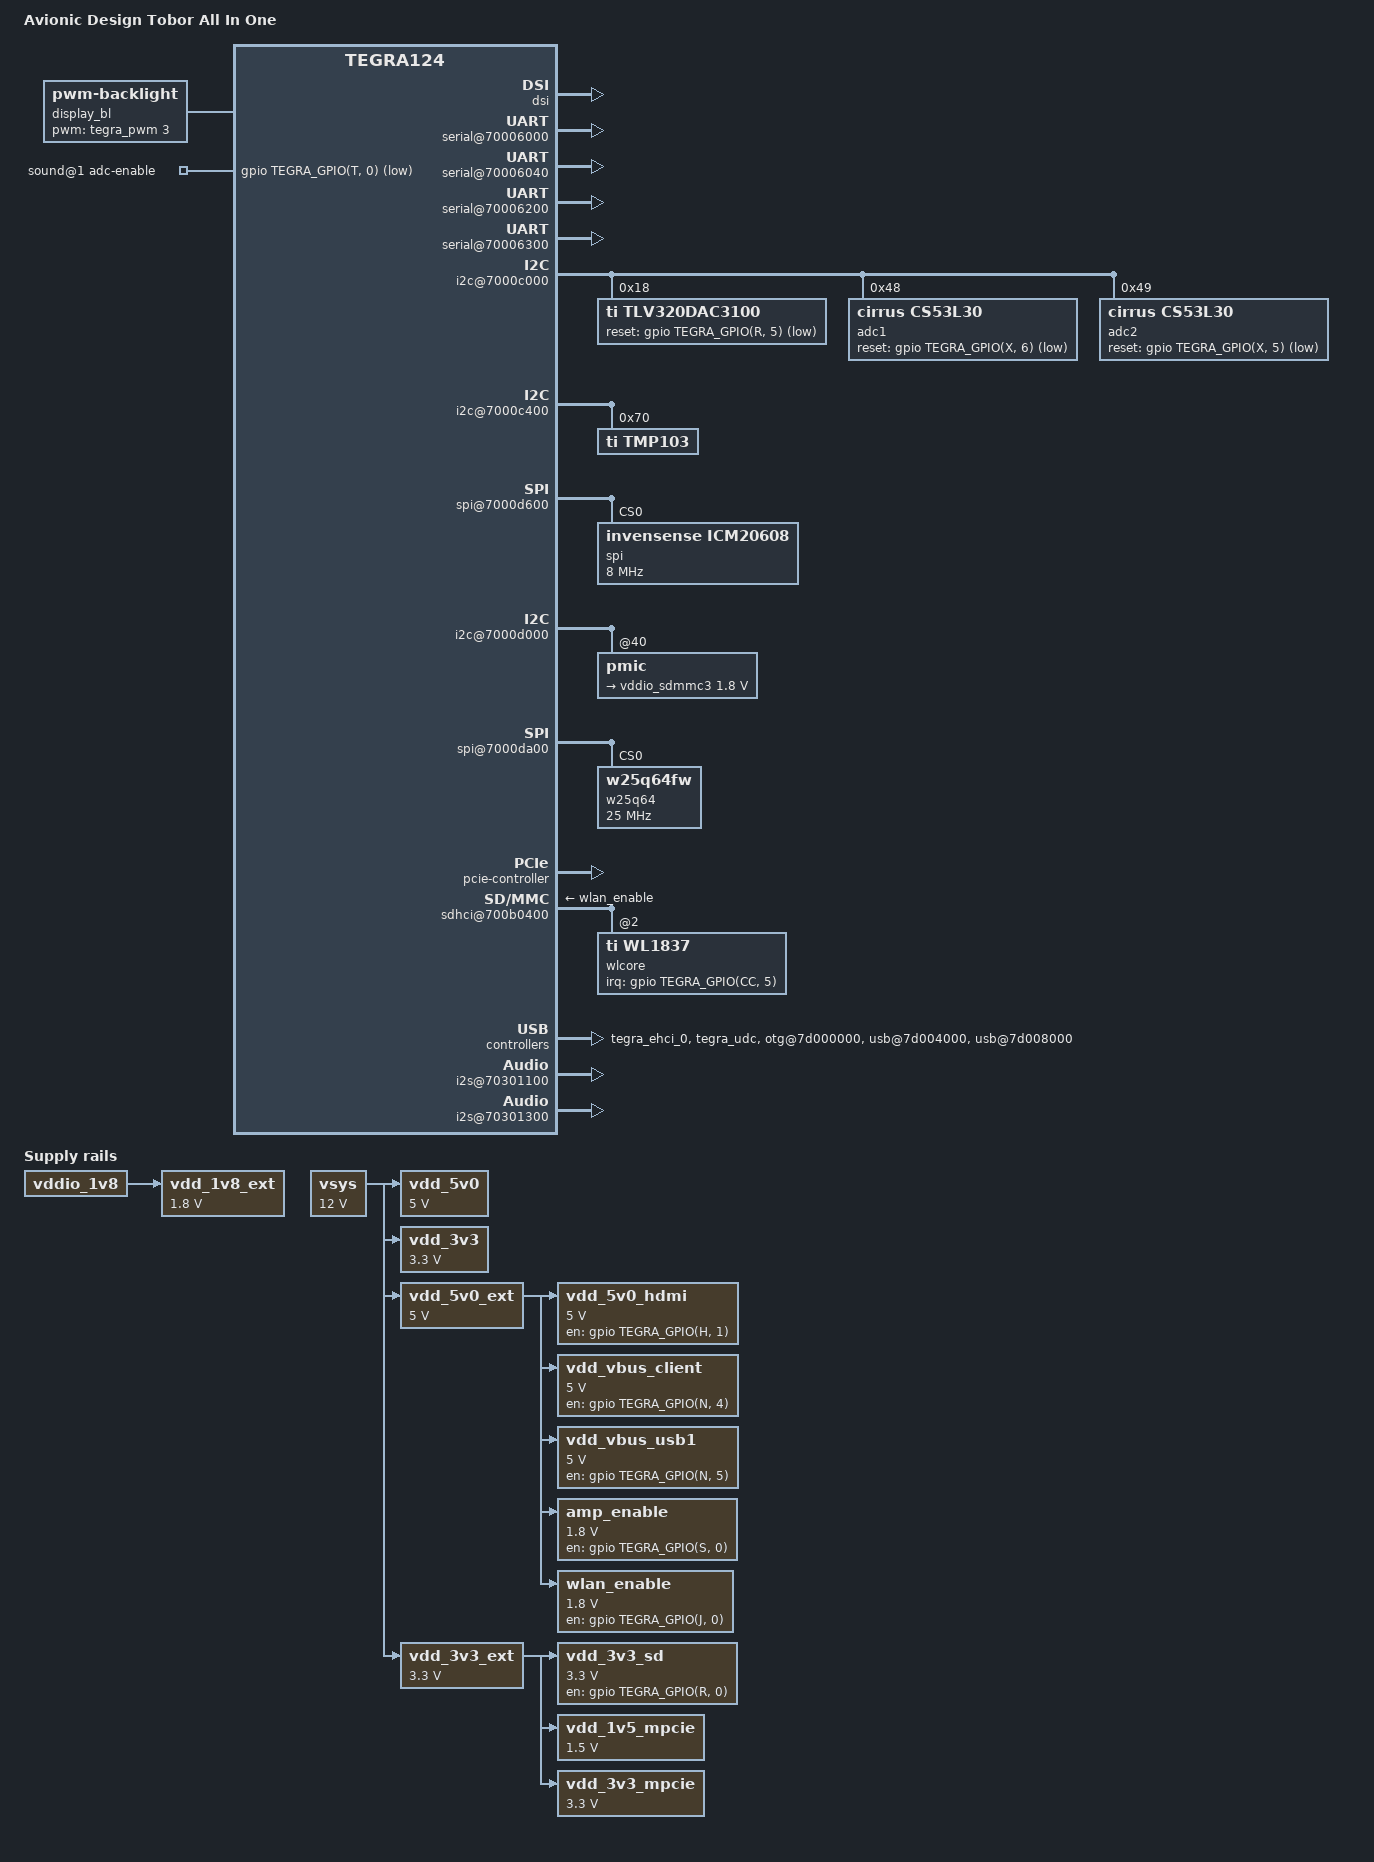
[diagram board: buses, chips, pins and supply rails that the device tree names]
/dts-v1/;

#include <dt-bindings/display/tegra-dc.h>
#include <dt-bindings/usb/tegra-ehci.h>
#include <dt-bindings/usb/tegra-xhci.h>
#include <dt-bindings/pci/tegra-pcie.h>

#include "tegra124-meerkat.dtsi"
#include "panel-n-720-1280-5.dtsi"

/ {
	model = "Avionic Design Tobor All In One";
	compatible = "ad,tobor-aio", "ad,meerkat", "nvidia,tegra124";
	nvidia,dtsfilename = __FILE__;

	pinmux {
		common {
			uart3_rxd_pw7 {
				nvidia,tristate = <TEGRA_PIN_DISABLE>;
			};

			uart3_txd_pw6 {
				nvidia,tristate = <TEGRA_PIN_DISABLE>;
			};

			/* SPI2 */
			kb_row13_ps5 {
				nvidia,function = "spi2";
				nvidia,enable-input = <TEGRA_PIN_DISABLE>;
			};

			kb_row14_ps6 {
				nvidia,function = "spi2";
				nvidia,tristate = <TEGRA_PIN_DISABLE>;
			};

			kb_col0_pq0 {
				nvidia,function = "spi2";
				nvidia,enable-input = <TEGRA_PIN_DISABLE>;
				nvidia,pull = <TEGRA_PIN_PULL_NONE>;
			};

			kb_col1_pq1 {
				nvidia,function = "spi2";
				nvidia,tristate = <TEGRA_PIN_DISABLE>;
			};

			/* LCD_BL_PWM */
			ph3 {
				nvidia,function = "pwm3";
				nvidia,tristate = <TEGRA_PIN_DISABLE>;
			};

			/* i2s1 (DAP2) / ADC */
			dap2_din_pa4 {
				nvidia,tristate = <TEGRA_PIN_DISABLE>;
			};

			dap2_fs_pa2 {
				nvidia,tristate = <TEGRA_PIN_DISABLE>;
			};

			dap2_sclk_pa3 {
				nvidia,tristate = <TEGRA_PIN_DISABLE>;
			};

			/* i2s3 (DAP4) / DAC */
			dap4_dout_pp6 {
				nvidia,tristate = <TEGRA_PIN_DISABLE>;
			};
			dap4_fs_pp4 {
				nvidia,tristate = <TEGRA_PIN_DISABLE>;
			};
			dap4_sclk_pp7 {
				nvidia,tristate = <TEGRA_PIN_DISABLE>;
			};

			/* TI Wifi IRQ line */
			clk2_req_pcc5 {
				nvidia,enable-input = <TEGRA_PIN_ENABLE>;
				nvidia,pull = <TEGRA_PIN_PULL_NONE>;
				nvidia,tristate = <TEGRA_PIN_DISABLE>;
			};
		};
	};

	display_bl: backlight {
		compatible = "pwm-backlight";
		pwms = <&tegra_pwm 3 1000000>;
		brightness-levels = <0 4 8 16 32 64 128 255>;
		default-brightness-level = <7>;
	};

	host1x {
		/* DSI Panel */
		/* tegradc.0 */
		dc@54200000 {
			status = "okay";
			nvidia,dc-connection = "internal-lcd";
			nvidia,cmu-enable = <1>;
			panel = <&panel>;
		};

		dsi {
			nvidia,dsi-controller-vs = <DSI_VS_1>;
			status = "okay";
			panel: panel-n-720-1280-5 {
				status = "okay";
				enable-gpios = <&gpio TEGRA_GPIO(R, 2) GPIO_ACTIVE_HIGH>;
				reset-gpios = <&gpio TEGRA_GPIO(W, 2) GPIO_ACTIVE_LOW>;
				reset-hold = <20>;
				reset-settle = <40>;
				backlight = <&display_bl>;
			};
		};
	};

	/* Use HS UART for the first 3 ports */
	serial@70006000 {
		compatible = "nvidia,tegra114-hsuart", "nvidia,tegra30-hsuart";
		status = "okay";
	};

	serial@70006040 {
		compatible = "nvidia,tegra114-hsuart", "nvidia,tegra30-hsuart";
		status = "okay";
	};

	serial@70006200 {
		compatible = "nvidia,tegra114-hsuart", "nvidia,tegra30-hsuart";
		status = "okay";
	};

	serial@70006300 {
		status = "okay";
	};

	/* GEN 1 */
	i2c@7000c000 {
		status = "okay";

		tlv320dac3100: tlv320dac3100@18 {
			compatible = "ti,tlv320dac3100";
			reg = <0x18>;

			reset-gpio = <&gpio TEGRA_GPIO(R, 5) GPIO_ACTIVE_LOW>;
		};

		adc1: adc@48 {
			compatible = "cirrus,cs53l30";
			reg = <0x48>;

			#sound-dai-cells = <0>;
			reset-gpio = <&gpio TEGRA_GPIO(X, 6) GPIO_ACTIVE_LOW>;
		};

		adc2: adc@49 {
			compatible = "cirrus,cs53l30";
			reg = <0x49>;

			#sound-dai-cells = <0>;
			reset-gpio = <&gpio TEGRA_GPIO(X, 5) GPIO_ACTIVE_LOW>;
		};
	};

	/* GEN 2 */
	i2c@7000c400 {
		status = "okay";

		tmp103@70 {
			compatible = "ti,tmp103";
			reg = <0x70>;
		};
	};

	/* SPI2 */
	spi@7000d600 {
		status = "okay";
		spi-max-frequency = <8000000>;

		spi@0 {
			compatible = "invensense,icm20608";
			reg = <0>;

			spi-max-frequency = <8000000>;
		};
	};

	/* Limit MMC3 to 1.8V for TI SDIO */
	i2c@7000d000 {
		pmic: pmic@40 {
			regulators {
				vddio_sdmmc3: ldo6 {
					regulator-max-microvolt = <1800000>;
				};
			};

			/* Generate 32kHz clock for TI wifi module */
			as3722_default: pinmux@0 {
				gpio5 {
					pins = "gpio5";
					function = "clk32k-out";
				};
			};
		};
	};

	/* SPI4 */
	spi@7000da00 {
		status = "okay";
		spi-max-frequency = <25000000>;

		w25q64@0 {
			compatible = "w25q64fw";
			reg = <0>;
			spi-max-frequency = <25000000>;
		};
	};

	pcie-controller {
		nvidia,port0_status = <1>;
		nvidia,port1_status = <0>;
		nvidia,lanes = <TEGRA_PCIE_LANES_X2_X1>;
		status = "okay";
	};

	/* MMC card slot */
	sdhci@700b0400 {
		status = "okay";
		/delete-property/ cd-gpios;
		/delete-property/ wp-gpios;

		cap-power-off-card;
		keep-power-in-suspend;
		mmc-ocr-mask = <0>;
		vddio_sd_slot-supply = <&vdd_3v3_sd>;
		vmmc-supply = <&wlan_enable>;

		wlcore: wlcore@2 {
			status = "okay";
			compatible = "ti,wl1837";
			#address-cells = <1>;
			#size-cells = <0>;
			reg = <2>;
			interrupt-parent = <&gpio>;
			interrupts = <TEGRA_GPIO(CC, 5) IRQ_TYPE_LEVEL_HIGH>;
		};
	};

	/* Recovery USB */
	tegra_ehci_0: usb@7d000000 {
		status = "okay";
		nvidia,port-otg;
		nvidia,phy-interface = <TEGRA_USB_PHY_INTF_UTMI>;
		nvidia,mode = <TEGRA_USB_OPMODE_HOST>;
		nvidia,id-det-type = <TEGRA_USB_PMU_ID>;
		nvidia,id-extcon-dev-name = "as3722-extcon";

		nvidia,hotplug;
		nvidia,remote-wakeup-supported;
		nvidia,power-off-on-suspend;

		nvidia,hssync-start-delay = <0>;
		nvidia,elastic-limit = <16>;
		nvidia,idle-wait-delay = <17>;
		nvidia,term-range-adj = <6>;
		nvidia,xcvr-setup = <8>;
		nvidia,xcvr-lsfslew = <2>;
		nvidia,xcvr-lsrslew = <2>;
		nvidia,xcvr-setup-offset = <0>;
		nvidia,xcvr-use-fuses = <1>;
		nvidia,vbus-oc-map = <0x5>;

		usb_vbus-supply = <&vdd_vbus_client>;
	};

	tegra_udc: udc@7d000000 {
		status = "okay";
		nvidia,port-otg;
		nvidia,has-host;
		nvidia,phy-interface = <TEGRA_USB_PHY_INTF_UTMI>;
		nvidia,mode = <TEGRA_USB_OPMODE_DEVICE>;
		nvidia,id-det-type = <TEGRA_USB_PMU_ID>;
		nvidia,id-extcon-dev-name = "as3722-extcon";

		nvidia,hssync-start-delay = <0>;
		nvidia,elastic-limit = <16>;
		nvidia,idle-wait-delay = <17>;
		nvidia,term-range-adj = <6>;
		nvidia,xcvr-setup = <8>;
		nvidia,xcvr-lsfslew = <2>;
		nvidia,xcvr-lsrslew = <2>;
		nvidia,xcvr-setup-offset = <0>;
		nvidia,xcvr-use-fuses = <1>;

		usb_vbus-supply = <&vdd_vbus_client>;
	};

	otg@7d000000 {
		status = "okay";
		nvidia,ehci-device = <&tegra_ehci_0>;

		usb_vbus-supply = <&vdd_vbus_client>;
	};

	/* USB1 */
	usb@7d004000 {
		status = "okay";
		nvidia,phy-interface = <TEGRA_USB_PHY_INTF_UTMI>;
		nvidia,mode = <TEGRA_USB_OPMODE_HOST>;

		nvidia,remote-wakeup-supported;
		nvidia,power-off-on-suspend;

		nvidia,hssync-start-delay = <0>;
		nvidia,elastic-limit = <16>;
		nvidia,idle-wait-delay = <17>;
		nvidia,term-range-adj = <6>;
		nvidia,xcvr-setup = <8>;
		nvidia,xcvr-lsfslew = <2>;
		nvidia,xcvr-lsrslew = <2>;
		nvidia,xcvr-setup-offset = <0>;
		nvidia,xcvr-use-fuses = <1>;
		nvidia,vbus-oc-map = <0x5>;

		usb_vbus-supply = <&vdd_vbus_usb1>;
	};

	/* USB2 */
	usb@7d008000 {
		status = "okay";
		nvidia,phy-interface = <TEGRA_USB_PHY_INTF_UTMI>;
		nvidia,mode = <TEGRA_USB_OPMODE_HOST>;

		nvidia,remote-wakeup-supported;
		nvidia,power-off-on-suspend;

		nvidia,hssync-start-delay = <0>;
		nvidia,elastic-limit = <16>;
		nvidia,idle-wait-delay = <17>;
		nvidia,term-range-adj = <6>;
		nvidia,xcvr-setup = <8>;
		nvidia,xcvr-lsfslew = <2>;
		nvidia,xcvr-lsrslew = <2>;
		nvidia,xcvr-setup-offset = <0>;
		nvidia,xcvr-use-fuses = <1>;
		nvidia,vbus-oc-map = <0x5>;
	};

	avp-audio {
		compatible = "nvidia,tegra124-avp-audio", "nvidia,tegra30-avp-audio";
	};

	audio-offload {
		compatible = "nvidia,tegra-offload";
	};

	ahub {
		status = "okay";

		i2s@70301100 {
			status = "okay";
		};

		i2s@70301300 {
			status = "okay";
		};
	};

	sound@0 {
		compatible = "nvidia,tegra-audio-tlv320dac3100";
		reg = <0x0 0x0 0x0 0x0>;
		nvidia,model = "Tobor TLV320DAC3100";

		nvidia,audio-routing =
			"Headphone", "Amp",
			"Headphone", "HPL",
			"Headphone", "HPR";

		nvidia,memory-clients = <SWGID_PPCS>;
		nvidia,i2s-controller = <&tegra_i2s3>;
		nvidia,i2s-is-master;
		nvidia,audio-codec = <&tlv320dac3100>;
		nvidia,extern-clk-id = <3>;

		Amp-supply = <&amp_enable>;
	};

	sound@1 {
		compatible = "ad,tobor-adc";
		reg = <0x0 0x1 0x0 0x0>;
		nvidia,model = "Tobor ADC";

		nvidia,audio-routing =
			"A IN1", "Mic 1",
			"A IN2", "Mic 2",
			"A IN3", "Mic 3",
			"A IN4", "Mic 4",
			"B IN1", "Mic 5",
			"B IN2", "Mic 6",
			"B IN3", "Loopback",
			"B IN4", "Loopback";

		nvidia,memory-clients = <SWGID_PPCS>;
		nvidia,i2s-controller = <&tegra_i2s1>;
		nvidia,i2s-is-master;
		sound-dai = <&adc1>, <&adc2>;

		adc-enable-gpio = <&gpio TEGRA_GPIO(T, 0) GPIO_ACTIVE_LOW>;
	};

	regulators {
		vsys: regulator@50 {
			compatible = "regulator-fixed";
			reg = <50>;
			regulator-name = "VSYS";
			regulator-min-microvolt = <12000000>;
			regulator-max-microvolt = <12000000>;
			regulator-always-on;
			regulator-boot-on;
		};

		vdd_5v0: regulator@101 {
			compatible = "regulator-fixed";
			reg = <101>;
			regulator-name = "+5V_SOM";
			regulator-min-microvolt = <5000000>;
			regulator-max-microvolt = <5000000>;
			vin-supply = <&vsys>;
		};

		vdd_3v3: regulator@102 {
			compatible = "regulator-fixed";
			reg = <102>;
			regulator-name = "+3V3_SOM";
			regulator-min-microvolt = <3300000>;
			regulator-max-microvolt = <3300000>;
			vin-supply = <&vsys>;
		};

		vdd_5v0_ext: regulator@103 {
			compatible = "regulator-fixed";
			reg = <103>;
			regulator-name = "+5V_EXT";
			regulator-min-microvolt = <5000000>;
			regulator-max-microvolt = <5000000>;
			vin-supply = <&vsys>;
		};

		vdd_3v3_ext: regulator@104 {
			compatible = "regulator-fixed";
			reg = <104>;
			regulator-name = "+3V3_EXT";
			regulator-min-microvolt = <3300000>;
			regulator-max-microvolt = <3300000>;
			vin-supply = <&vsys>;
		};

		vdd_1v8_ext: regulator@105 {
			compatible = "regulator-fixed";
			reg = <105>;
			regulator-name = "+1V8_EXT";
			regulator-min-microvolt = <1800000>;
			regulator-max-microvolt = <1800000>;
			vin-supply = <&vddio_1v8>;
		};

		vdd_5v0_hdmi: regulator@106 {
			compatible = "regulator-fixed";
			reg = <106>;
			regulator-name = "HDMI_VCC";
			regulator-min-microvolt = <5000000>;
			regulator-max-microvolt = <5000000>;
			vin-supply = <&vdd_5v0_ext>;
			gpio = <&gpio TEGRA_GPIO(H, 1) GPIO_ACTIVE_HIGH>;
			enable-active-high;
		};

		vdd_3v3_sd: regulator@107 {
			compatible = "regulator-fixed";
			reg = <107>;
			regulator-name = "+3V3_SD";
			regulator-min-microvolt = <3300000>;
			regulator-max-microvolt = <3300000>;
			vin-supply = <&vdd_3v3_ext>;
			gpio = <&gpio TEGRA_GPIO(R, 0) GPIO_ACTIVE_HIGH>;
			enable-active-high;
		};

		vdd_1v5_mpcie: regulator@108 {
			compatible = "regulator-fixed";
			reg = <108>;
			regulator-name = "+1V5_mPCIe";
			regulator-min-microvolt = <1500000>;
			regulator-max-microvolt = <1500000>;
			vin-supply = <&vdd_3v3_ext>;
		};

		vdd_3v3_mpcie: regulator@109 {
			compatible = "regulator-fixed";
			reg = <109>;
			regulator-name = "+3V3_mPCIe";
			regulator-min-microvolt = <3300000>;
			regulator-max-microvolt = <3300000>;
			vin-supply = <&vdd_3v3_ext>;
		};

		vdd_vbus_client: regulator@110 {
			compatible = "regulator-fixed";
			reg = <110>;
			regulator-name = "USB_CLIENT_VBUS";
			regulator-min-microvolt = <5000000>;
			regulator-max-microvolt = <5000000>;
			vin-supply = <&vdd_5v0_ext>;
			gpio = <&gpio TEGRA_GPIO(N, 4) GPIO_ACTIVE_HIGH>;
			enable-active-high;
			gpio-open-drain;
		};

		vdd_vbus_usb1: regulator@111 {
			compatible = "regulator-fixed";
			reg = <111>;
			regulator-name = "USB1_VCC";
			regulator-min-microvolt = <5000000>;
			regulator-max-microvolt = <5000000>;
			vin-supply = <&vdd_5v0_ext>;
			gpio = <&gpio TEGRA_GPIO(N, 5) GPIO_ACTIVE_HIGH>;
			enable-active-high;
			gpio-open-drain;
		};

		amp_enable: regulator@112 {
			compatible = "regulator-fixed";
			reg = <112>;
			regulator-name = "AMP_EN";
			regulator-min-microvolt = <1800000>;
			regulator-max-microvolt = <1800000>;
			vin-supply = <&vdd_5v0_ext>;
			gpio = <&gpio TEGRA_GPIO(S, 0) GPIO_ACTIVE_HIGH>;
			enable-active-high;
		};

		wlan_enable: regulator@113 {
			compatible = "regulator-fixed";
			reg = <113>;
			regulator-name = "WLAN_EN";
			regulator-min-microvolt = <1800000>;
			regulator-max-microvolt = <1800000>;
			vin-supply = <&vdd_5v0_ext>;
			gpio = <&gpio TEGRA_GPIO(J, 0) GPIO_ACTIVE_HIGH>;
			enable-active-high;
		};
	};

	pwm-fan {
		status = "okay";
	};
};
